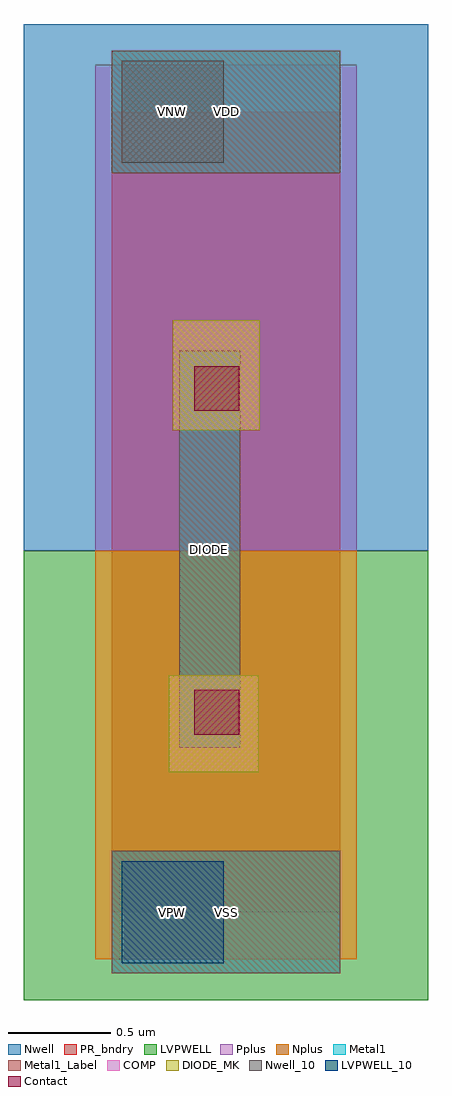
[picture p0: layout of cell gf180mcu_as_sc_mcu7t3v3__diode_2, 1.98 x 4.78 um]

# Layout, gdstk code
import gdstk
lib = gdstk.Library(unit=1e-6, precision=1e-09)
def R(c, l, rs):  # rectangles x0, y0, x1, y1
    for r in rs: c.add(gdstk.rectangle(r[:2], r[2:], *l))
PR_bndry = (0, 0)
Nwell = (21, 0)
Nwell_10 = (21, 10)
COMP = (22, 0)
Pplus = (31, 0)
Nplus = (32, 0)
Contact = (33, 0)
Metal1 = (34, 0)
Metal1_Label = (34, 10)
DIODE_MK = (115, 5)
LVPWELL = (204, 0)
LVPWELL_10 = (204, 10)

gf180mcu_as_sc_mcu7t3v3_ = lib.new_cell('gf180mcu_as_sc_mcu7t3v3__diode_2')
R(gf180mcu_as_sc_mcu7t3v3_, PR_bndry, [(0,0,1.12,3.92)])
R(gf180mcu_as_sc_mcu7t3v3_, Nwell, [(-0.43,1.77,1.55,4.35)])
R(gf180mcu_as_sc_mcu7t3v3_, Nwell_10, [(0.05,3.67,0.55,4.17)])
R(gf180mcu_as_sc_mcu7t3v3_, COMP, [(0.28,0.685,0.72,1.16), (0.3,2.36,0.725,2.9)])
R(gf180mcu_as_sc_mcu7t3v3_, Pplus, [(-0.08,1.77,1.2,4.15)])
R(gf180mcu_as_sc_mcu7t3v3_, Nplus, [(-0.08,-0.23,1.2,1.77)])
R(gf180mcu_as_sc_mcu7t3v3_, Contact, [(0.405,0.87,0.625,1.09), (0.405,2.455,0.625,2.675)])
R(gf180mcu_as_sc_mcu7t3v3_, Metal1, [(0,-0.3,1.12,0.3), (0.33,0.805,0.63,2.75), (0,3.62,1.12,4.22)])
R(gf180mcu_as_sc_mcu7t3v3_, Metal1_Label, [(0,-0.3,1.12,0.3), (0.33,0.805,0.63,2.75), (0,3.62,1.12,4.22)])
R(gf180mcu_as_sc_mcu7t3v3_, DIODE_MK, [(0.28,0.685,0.72,1.16), (0.3,2.36,0.725,2.9)])
R(gf180mcu_as_sc_mcu7t3v3_, LVPWELL, [(-0.43,-0.43,1.55,1.77)])
R(gf180mcu_as_sc_mcu7t3v3_, LVPWELL_10, [(0.05,-0.25,0.55,0.25)])
gf180mcu_as_sc_mcu7t3v3_.add(gdstk.Label('VDD', (0.56,3.92), layer=34, texttype=10))
gf180mcu_as_sc_mcu7t3v3_.add(gdstk.Label('VNW', (0.3,3.92), layer=21, texttype=10))
gf180mcu_as_sc_mcu7t3v3_.add(gdstk.Label('VPW', (0.3,0), layer=204, texttype=10))
gf180mcu_as_sc_mcu7t3v3_.add(gdstk.Label('VSS', (0.56,0), layer=34, texttype=10))
gf180mcu_as_sc_mcu7t3v3_.add(gdstk.Label('DIODE', (0.48,1.777), layer=34, texttype=10))

lib.write_gds('gf180mcu_as_sc_mcu7t3v3__diode_2.gds')
